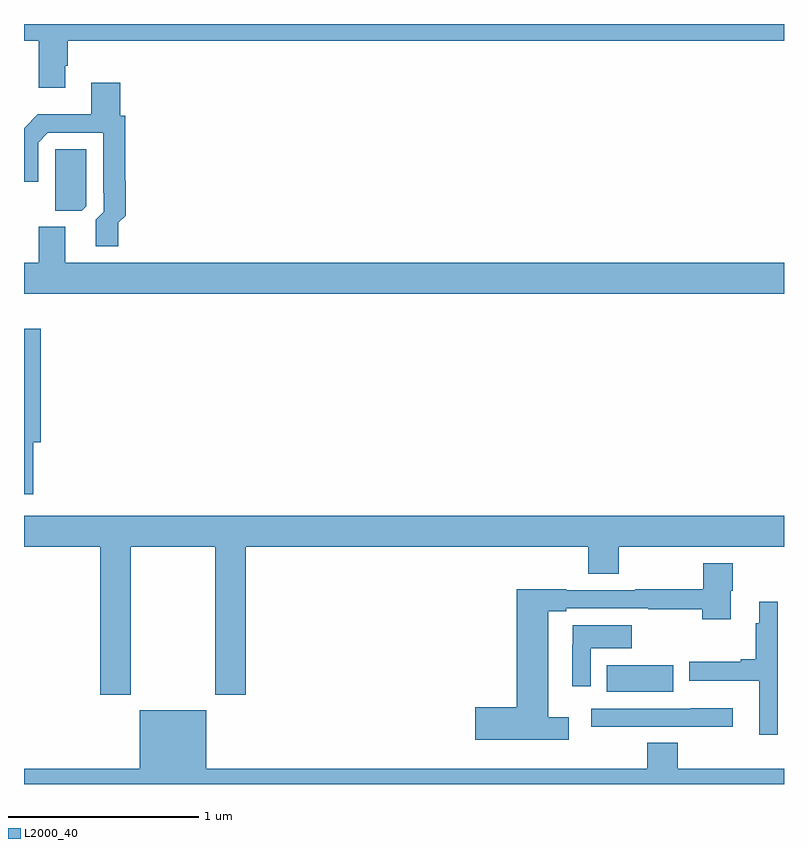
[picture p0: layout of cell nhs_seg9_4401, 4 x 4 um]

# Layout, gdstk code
import gdstk
lib = gdstk.Library(unit=1e-6, precision=1e-09)
def R(c, l, rs):  # rectangles x0, y0, x1, y1
    for r in rs: c.add(gdstk.rectangle(r[:2], r[2:], *l))
def P(c, l, *ps):  # polygons
    for p in ps: c.add(gdstk.Polygon(p, *l))
L2000_40 = (2000, 40)

nhs_seg9_4401 = lib.new_cell('nhs_seg9_4401')
R(nhs_seg9_4401, L2000_40, [(366.067,1200.986,366.417,1201.126)])
P(nhs_seg9_4401, L2000_40, [(363.217,1204.279),(363.23,1204.279),(363.23,1204.412),(367,1204.412),(367,1204.5),(363,1204.5),(363,1204.412),(363.077,1204.412),(363.077,1204.164),(363.217,1204.164)],
  [(363.497,1203.453),(363.536,1203.492),(363.536,1203.674),(363.533,1203.674),(363.533,1204.017),(363.506,1204.017),(363.506,1204.192),(363.353,1204.192),(363.353,1204.024),(363.073,1204.024),(363,1203.951),(363,1203.669),(363.075,1203.669),(363.075,1203.876),(363.126,1203.927),(363.417,1203.927),(363.417,1203.613),(363.42,1203.613),(363.42,1203.513),(363.377,1203.47),(363.377,1203.33),(363.497,1203.33)],
  [(363.327,1203.54),(363.327,1203.842),(363.165,1203.842),(363.165,1203.731),(363.164,1203.731),(363.164,1203.517),(363.303,1203.517)],
  [(367,1203.244),(363.217,1203.244),(363.217,1203.432),(363.077,1203.432),(363.077,1203.244),(363,1203.244),(363,1203.08),(367,1203.08)],
  [(363.049,1202.298),(363.089,1202.298),(363.089,1202.896),(363,1202.896),(363,1202.025),(363.049,1202.025)],
  [(363.561,1201.748),(364.006,1201.748),(364.006,1200.969),(364.166,1200.969),(364.166,1201.748),(365.969,1201.748),(365.969,1201.606),(366.129,1201.606),(366.129,1201.748),(367,1201.748),(367,1201.912),(363,1201.912),(363,1201.748),(363.401,1201.748),(363.401,1200.969),(363.561,1200.969)],
  [(365.866,1200.851),(365.758,1200.851),(365.758,1201.409),(365.854,1201.409),(365.854,1201.425),(366.286,1201.425),(366.286,1201.42),(366.569,1201.42),(366.569,1201.368),(366.721,1201.368),(366.721,1201.518),(366.729,1201.518),(366.729,1201.663),(366.574,1201.663),(366.574,1201.524),(366.217,1201.524),(366.217,1201.521),(365.854,1201.521),(365.854,1201.524),(365.594,1201.524),(365.594,1200.905),(365.376,1200.905),(365.376,1200.734),(365.866,1200.734)],
  [(366.966,1201.237),(366.967,1201.237),(366.967,1201.459),(366.869,1201.459),(366.869,1201.346),(366.85,1201.346),(366.85,1201.156),(366.773,1201.156),(366.773,1201.143),(366.502,1201.143),(366.502,1201.043),(366.869,1201.043),(366.869,1200.759),(366.966,1200.759)],
  [(365.982,1201.214),(366.199,1201.214),(366.199,1201.335),(365.887,1201.335),(365.887,1201.232),(365.886,1201.232),(365.886,1201.014),(365.982,1201.014)],
  [(366.73,1200.898),(366.51,1200.898),(366.51,1200.897),(365.985,1200.897),(365.985,1200.801),(366.73,1200.801)],
  [(367,1200.58),(366.44,1200.58),(366.44,1200.716),(366.28,1200.716),(366.28,1200.58),(363.958,1200.58),(363.958,1200.889),(363.608,1200.889),(363.608,1200.58),(363,1200.58),(363,1200.5),(367,1200.5)])

lib.write_gds('nhs_seg9_4401.gds')
